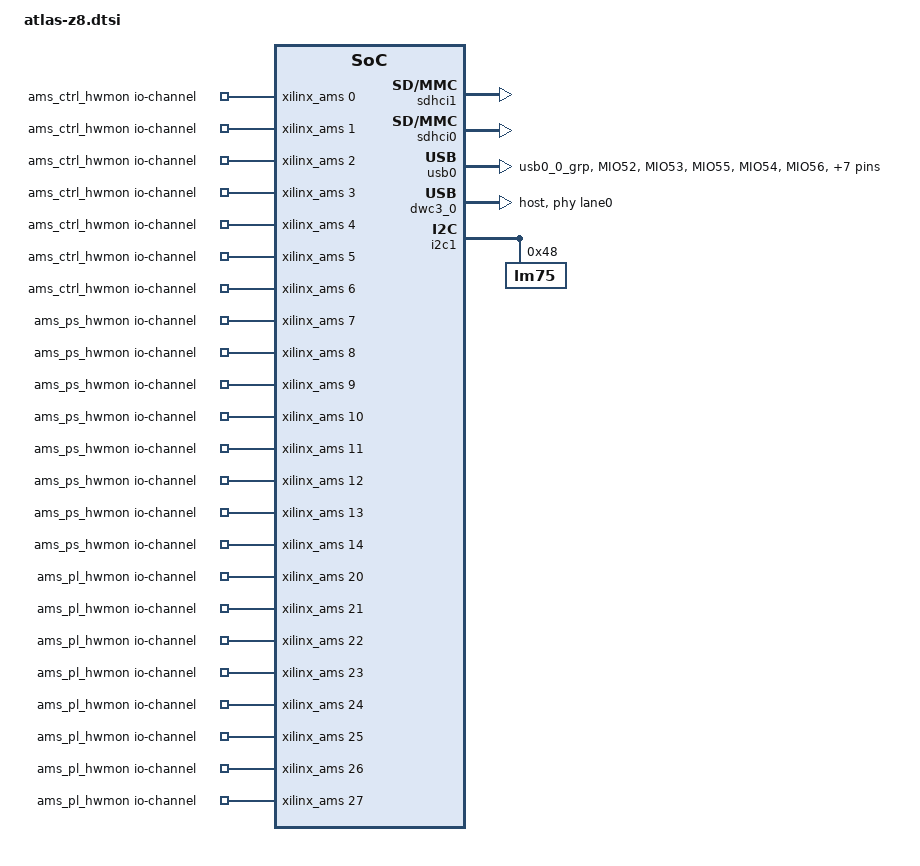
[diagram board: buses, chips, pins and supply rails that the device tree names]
#include <dt-bindings/input/input.h>
#include <dt-bindings/gpio/gpio.h>
#include <dt-bindings/pinctrl/pinctrl-zynqmp.h>
#include <dt-bindings/phy/phy.h>

/ {
    aliases {
        /* uart1 is console */
        serial0 = &uart1;
        serial1 = &uart0;
    };
};

&pss_ref_clk {
    clock-frequency = <50000000>;
};

&qspi {
    is-dual = <0>;
};

&sdhci1 {
    status = "okay";
    no-1-8-v;       /* for 1.0 silicon */
    disable-wp;
};

&sdhci0 {
    status = "okay";
    no-1-8-v;       /* for 1.0 silicon */
    disable-wp;
};

&pinctrl0 {
	status = "okay";
	pinctrl_usb0_default: usb0-default {
		mux {
			groups = "usb0_0_grp";
			function = "usb0";
		};

		conf {
			groups = "usb0_0_grp";
			slew-rate = <SLEW_RATE_SLOW>;
			io-standard = <IO_STANDARD_LVCMOS18>;
		};

		conf-rx {
			pins = "MIO52", "MIO53", "MIO55";
			bias-high-impedance;
		};

		conf-tx {
			pins = "MIO54", "MIO56", "MIO57", "MIO58", "MIO59",
			       "MIO60", "MIO61", "MIO62", "MIO63";
			bias-disable;
		};
	};
};

&usb0 {
	status = "okay";
	pinctrl-names = "default";
	pinctrl-0 = <&pinctrl_usb0_default>;
};

&dwc3_0 {
	status = "okay";
	dr_mode = "host";
	snps,usb3_lpm_capable;
	phy-names = "usb3-phy";
	phys = <&lane0 PHY_TYPE_USB3 0 2 26000000>;
	maximum-speed = "super-speed";
};

&i2c1 {
    lm75@48 {
        compatible = "lm75";
        reg = <0x48>;
        status = "okay";
    };
};

&ams_pl {
    xlnx,ext-channels {
        #address-cells = <1>;
        #size-cells = <0>;
        channel@0 {
            reg = <0>;
            xlnx,bipolar;
        };
    };
};


&amba {
    ams_ctrl_hwmon {
        compatible = "iio-hwmon";
        io-channels = <&xilinx_ams 0>, <&xilinx_ams 1>, <&xilinx_ams 2> , <&xilinx_ams 3>,
                        <&xilinx_ams 4>, <&xilinx_ams 5>, <&xilinx_ams 6>;
    };

    ams_ps_hwmon {
        compatible = "iio-hwmon";
        io-channels = <&xilinx_ams 7>, <&xilinx_ams 8>, <&xilinx_ams 9>, <&xilinx_ams 10>, 
                        <&xilinx_ams 11>, <&xilinx_ams 12>, <&xilinx_ams 13>, <&xilinx_ams 14>, 
                        <&xilinx_ams 15>, <&xilinx_ams 16>, <&xilinx_ams 17>, <&xilinx_ams 18>, 
                        <&xilinx_ams 19>;
    };

    ams_pl_hwmon {
        compatible = "iio-hwmon";
        io-channels = <&xilinx_ams 20>, <&xilinx_ams 21>, <&xilinx_ams 22>, <&xilinx_ams 23>,
                        <&xilinx_ams 24>, <&xilinx_ams 25>, <&xilinx_ams 26>, <&xilinx_ams 27>,
                        <&xilinx_ams 28>, <&xilinx_ams 29>, <&xilinx_ams 30>;
    };
};

